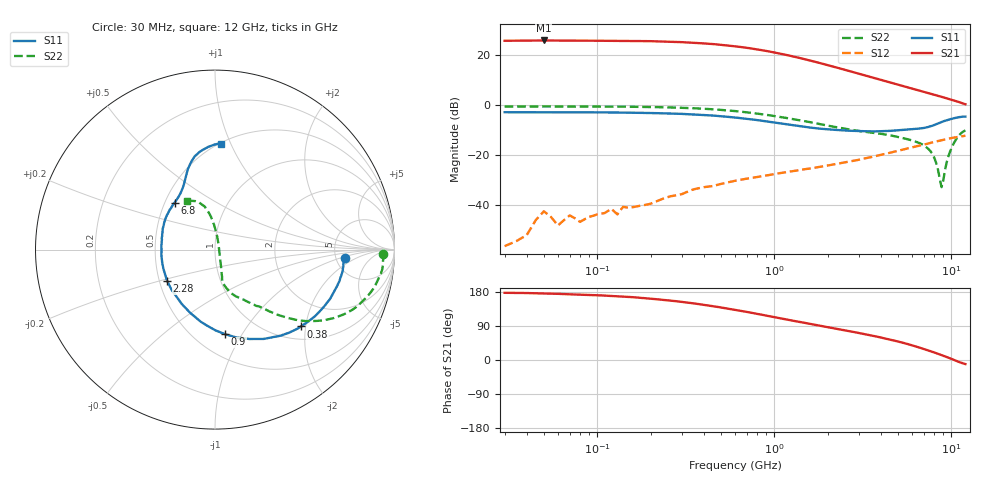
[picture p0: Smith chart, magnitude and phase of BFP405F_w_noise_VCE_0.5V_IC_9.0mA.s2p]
! Infineon Technologies  Discrete & RF Semiconductors
! BFP405F
! VCE =  0.5 V,  IC =  9.0 mA
! Common Emitter S-Parameters:  Nov 2015
# GHz  S  MA  R  50
!  f  S11  S21  S12  S22
! GHz  MAG  ANG  MAG  ANG  MAG  ANG  MAG  ANG
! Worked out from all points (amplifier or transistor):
!   239 points, 30 MHz to 12 GHz, reference 50 ohm
!   highest |S21| = 25.9 dB at 50 MHz (marker M1)
!   |S21| within 3 dB of that: start of sweep to 709.3 MHz
!   unconditionally stable (mu >= 1): 1.85 GHz to end of sweep
!   at 300 MHz: K = 0.25, MSG = 30.4 dB, |S12| = -35.7 dB
!   at 1.88 GHz: K = 1.01, MAG = 19.9 dB, |S12| = -24.5 dB
!   at 12 GHz: K = 1.44, MAG = 2.4 dB, |S12| = -12.2 dB
!   lowest NFmin = 1.60 dB at 450 MHz
!   S11 on the Smith chart (normalised r, x): 30 MHz: 6.01, -1.11; 380 MHz: 1.29, -1.88; 900 MHz: 0.70, -0.85; 2.28 GHz: 0.55, -0.21; 6.8 GHz: 0.56, +0.33; 12 GHz: 0.51, +0.92
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0.03  0.7231 -3.5  19.5 177.3  0.0015 101.4  0.9381 -1.5
0.05  0.7194 -6.5  19.79 175.3  0.0075 87.3  0.9464 -2.7
0.06  0.7213 -7.3  19.63 174.6  0.0039 86.8  0.9384 -3.2
0.085  0.7203 -9.8  19.59 172.1  0.0052 91.7  0.9394 -5.0
0.145  0.7091 -16.9  19.42 167.2  0.009 87.9  0.932 -8.6
0.24  0.6862 -27.3  18.76 158.4  0.0138 74.9  0.9077 -14.0
0.3  0.6694 -33.7  18.3 153.4  0.0165 75.1  0.8867 -17.3
0.38  0.6423 -41.8  17.45 147.1  0.022 70.5  0.8568 -21.2
0.45  0.6206 -48.2  16.77 142.1  0.024 70.3  0.8278 -24.4
0.6  0.5669 -61.4  15.11 132.3  0.0306 64.6  0.762 -30.1
0.7  0.533 -69.1  14.11 126.7  0.0338 62.3  0.7193 -33.3
0.9  0.4747 -83.2  12.21 117.1  0.0389 58.2  0.6411 -38.4
1.3  0.3914 -106.4  9.331 102.8  0.0483 55.4  0.5195 -45.2
1.64  0.3526 -122.4  7.65 94.2  0.0548 53.8  0.448 -49.2
2.28  0.3181 -146.9  5.603 81.7  0.0672 52.2  0.3583 -56.4
3.1  0.3017 -168.5  4.132 70.0  0.0831 51.3  0.2995 -63.3
4.5  0.3058 164.4  2.855 54.1  0.112 47.5  0.2501 -70.7
6.8  0.3452 130.7  1.91 30.8  0.159 37.4  0.1662 -76.4
8  0.4 115.8  1.621 19.8  0.1837 31.4  0.0896 -68.9
8.8  0.4595 109.8  1.472 12.9  0.1986 26.6  0.0228 2.0
10  0.5316 102.3  1.291 3.0  0.2197 20.0  0.1362 91.9
12  0.5915 86.6  1.044 -10.8  0.2444 10.5  0.3136 119.3
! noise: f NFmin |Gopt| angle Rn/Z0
0.45  1.6  0.23  5  0.33
0.9  1.61  0.21  11  0.35
1.5  1.67  0.2  16  0.26
1.9  1.7  0.18  22  0.29
2.4  1.84  0.17  30  0.34
3  1.92  0.15  43  0.31
3.5  1.97  0.13  50  0.3
4.5  2.13  0.1  51  0.2
5.5  2.32  0.05  51  0.05
